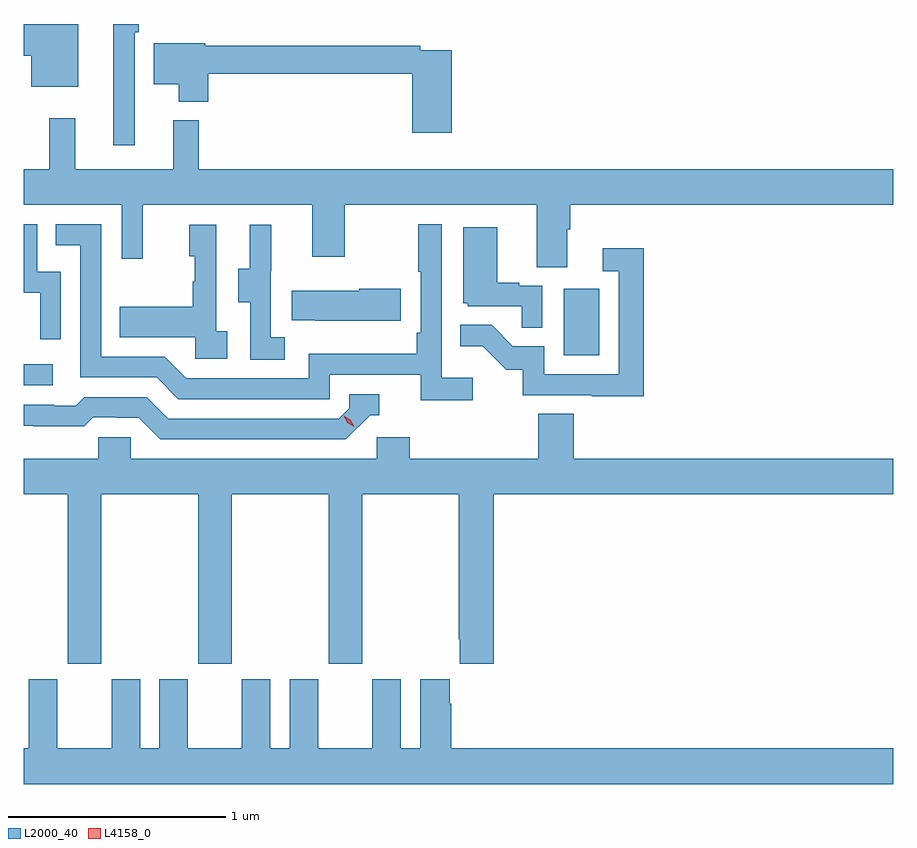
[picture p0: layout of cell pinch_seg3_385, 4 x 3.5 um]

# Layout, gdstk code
import gdstk
lib = gdstk.Library(unit=1e-6, precision=1e-09)
def R(c, l, rs):  # rectangles x0, y0, x1, y1
    for r in rs: c.add(gdstk.rectangle(r[:2], r[2:], *l))
def P(c, l, *ps):  # polygons
    for p in ps: c.add(gdstk.Polygon(p, *l))
L2000_40 = (2000, 40)
L4158_0 = (4158, 0)

pinch_seg3_385 = lib.new_cell('pinch_seg3_385')
R(pinch_seg3_385, L2000_40, [(960.081,688.098,960.214,688.194), (962.564,688.236,962.728,688.543)])
P(pinch_seg3_385, L2000_40, [(960.591,689.723),(960.611,689.723),(960.611,689.76),(960.494,689.76),(960.494,689.202),(960.591,689.202)],
  [(960.331,689.76),(960.081,689.76),(960.081,689.615),(960.116,689.615),(960.116,689.471),(960.331,689.471)],
  [(962.051,689.64),(961.904,689.64),(961.904,689.66),(960.916,689.66),(960.916,689.671),(960.68,689.671),(960.68,689.483),(960.794,689.483),(960.794,689.402),(960.929,689.402),(960.929,689.532),(961.868,689.532),(961.868,689.259),(962.051,689.259)],
  [(962.581,688.816),(962.594,688.816),(962.594,688.928),(964.081,688.928),(964.081,689.092),(960.887,689.092),(960.887,689.317),(960.77,689.317),(960.77,689.092),(960.317,689.092),(960.317,689.326),(960.199,689.326),(960.199,689.092),(960.081,689.092),(960.081,688.928),(960.531,688.928),(960.531,688.68),(960.629,688.68),(960.629,688.928),(961.409,688.928),(961.409,688.689),(961.557,688.689),(961.557,688.928),(962.441,688.928),(962.441,688.642),(962.581,688.642)],
  [(962.146,688.132),(962.004,688.132),(962.004,688.84),(961.896,688.84),(961.896,688.621),(961.908,688.621),(961.908,688.339),(961.888,688.339),(961.888,688.243),(961.392,688.243),(961.392,688.131),(960.828,688.131),(960.729,688.23),(960.438,688.23),(960.438,688.839),(960.229,688.839),(960.229,688.743),(960.342,688.743),(960.342,688.134),(960.692,688.134),(960.791,688.035),(961.488,688.035),(961.488,688.146),(961.907,688.146),(961.907,688.03),(962.146,688.03)],
  [(960.252,688.62),(960.144,688.62),(960.144,688.839),(960.081,688.839),(960.081,688.523),(960.156,688.523),(960.156,688.311),(960.252,688.311)],
  [(961.282,688.319),(961.218,688.319),(961.218,688.623),(961.22,688.623),(961.22,688.837),(961.121,688.837),(961.121,688.635),(961.067,688.635),(961.067,688.48),(961.122,688.48),(961.122,688.216),(961.282,688.216)],
  [(961.018,688.346),(960.966,688.346),(960.966,688.837),(960.842,688.837),(960.842,688.692),(960.868,688.692),(960.868,688.574),(960.858,688.574),(960.858,688.459),(960.523,688.459),(960.523,688.319),(960.87,688.319),(960.87,688.221),(961.018,688.221)],
  [(962.466,688.557),(962.36,688.557),(962.36,688.57),(962.26,688.57),(962.26,688.825),(962.102,688.825),(962.102,688.476),(962.124,688.476),(962.124,688.461),(962.371,688.461),(962.371,688.363),(962.466,688.363)],
  [(962.933,688.729),(962.745,688.729),(962.745,688.623),(962.817,688.623),(962.817,688.149),(962.475,688.149),(962.475,688.278),(962.331,688.278),(962.233,688.376),(962.089,688.376),(962.089,688.277),(962.193,688.277),(962.3,688.17),(962.377,688.17),(962.377,688.053),(962.695,688.053),(962.695,688.048),(962.933,688.048)],
  [(961.816,688.542),(961.625,688.542),(961.625,688.534),(961.315,688.534),(961.315,688.397),(961.423,688.397),(961.423,688.394),(961.816,688.394)],
  [(961.674,687.96),(961.717,687.96),(961.717,688.056),(961.578,688.056),(961.578,687.993),(961.53,687.945),(960.747,687.945),(960.648,688.044),(960.359,688.044),(960.32,688.005),(960.221,688.005),(960.221,688.008),(960.081,688.008),(960.081,687.911),(960.126,687.911),(960.126,687.909),(960.359,687.909),(960.401,687.951),(960.504,687.951),(960.504,687.948),(960.611,687.948),(960.71,687.849),(961.563,687.849)],
  [(960.438,687.596),(960.883,687.596),(960.883,686.817),(961.038,686.817),(961.038,687.596),(961.483,687.596),(961.483,686.817),(961.638,686.817),(961.638,687.596),(962.083,687.596),(962.083,686.929),(962.087,686.929),(962.087,686.817),(962.243,686.817),(962.243,687.596),(964.081,687.596),(964.081,687.76),(962.612,687.76),(962.612,687.968),(962.447,687.968),(962.447,687.76),(961.856,687.76),(961.856,687.858),(961.704,687.858),(961.704,687.76),(960.573,687.76),(960.573,687.858),(960.423,687.858),(960.423,687.76),(960.081,687.76),(960.081,687.596),(960.283,687.596),(960.283,686.817),(960.438,686.817)],
  [(964.081,686.428),(962.048,686.428),(962.048,686.633),(962.041,686.633),(962.041,686.746),(961.904,686.746),(961.904,686.428),(961.816,686.428),(961.816,686.746),(961.685,686.746),(961.685,686.428),(961.435,686.428),(961.435,686.746),(961.304,686.746),(961.304,686.428),(961.216,686.428),(961.216,686.746),(961.085,686.746),(961.085,686.428),(960.835,686.428),(960.835,686.746),(960.704,686.746),(960.704,686.428),(960.616,686.428),(960.616,686.746),(960.485,686.746),(960.485,686.428),(960.235,686.428),(960.235,686.746),(960.104,686.746),(960.104,686.428),(960.081,686.428),(960.081,686.264),(964.081,686.264)])
P(pinch_seg3_385, L4158_0, [(961.601,687.907),(961.57,687.926),(961.553,687.958),(961.553,687.958),(961.554,687.958),(961.584,687.939),(961.601,687.907),(961.601,687.907)])

lib.write_gds('pinch_seg3_385.gds')
